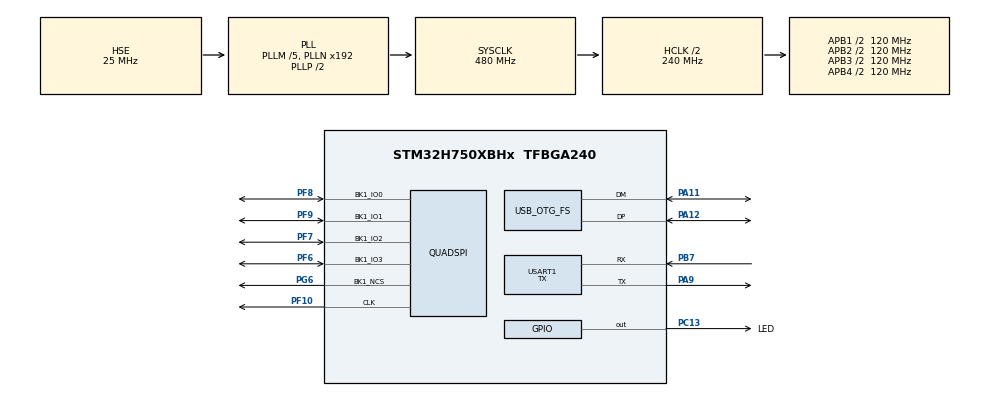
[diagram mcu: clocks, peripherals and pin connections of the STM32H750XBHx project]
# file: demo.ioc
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CORTEX_M7.default_mode_Activation=1
Mcu.Family=STM32H7
Mcu.Name=STM32H750XBHx
Mcu.Package=TFBGA240
NVIC.OTG_FS_IRQn=true\:0\:0\:false\:false\:true\:true\:true\:true
NVIC.PriorityGroup=NVIC_PRIORITYGROUP_4
PA11.Mode=Device_Only
PA11.Signal=USB_OTG_FS_DM
PA12.Mode=Device_Only
PA12.Signal=USB_OTG_FS_DP
PA13\ (JTMS/SWDIO).Mode=Serial_Wire
PA13\ (JTMS/SWDIO).Signal=DEBUG_JTMS-SWDIO
PA14\ (JTCK/SWCLK).Mode=Serial_Wire
PA14\ (JTCK/SWCLK).Signal=DEBUG_JTCK-SWCLK
PA9.Mode=Asynchronous
PA9.Signal=USART1_TX
PB7.Mode=Asynchronous
PB7.Signal=USART1_RX
PC13.GPIO_Label=LED
PC13.Signal=GPIO_Output
PF10.GPIO_Speed=GPIO_SPEED_FREQ_VERY_HIGH
PF10.Mode=Single Bank 1
PF10.Signal=QUADSPI_CLK
PF6.GPIO_Speed=GPIO_SPEED_FREQ_VERY_HIGH
PF6.Mode=Single Bank 1
PF6.Signal=QUADSPI_BK1_IO3
PF7.GPIO_Speed=GPIO_SPEED_FREQ_VERY_HIGH
PF7.Mode=Single Bank 1
PF7.Signal=QUADSPI_BK1_IO2
PF8.GPIO_Speed=GPIO_SPEED_FREQ_VERY_HIGH
PF8.Mode=Single Bank 1
PF8.Signal=QUADSPI_BK1_IO0
PF9.GPIO_Speed=GPIO_SPEED_FREQ_VERY_HIGH
PF9.Mode=Single Bank 1
PF9.Signal=QUADSPI_BK1_IO1
PG6.GPIO_Speed=GPIO_SPEED_FREQ_VERY_HIGH
PG6.Mode=Single Bank 1
PG6.Signal=QUADSPI_BK1_NCS
PH0-OSC_IN\ (PH0).Mode=HSE-External-Oscillator
PH0-OSC_IN\ (PH0).Signal=RCC_OSC_IN
PH1-OSC_OUT\ (PH1).Mode=HSE-External-Oscillator
PH1-OSC_OUT\ (PH1).Signal=RCC_OSC_OUT
ProjectManager.HeapSize=0x200
ProjectManager.StackSize=0x400
ProjectManager.TargetToolchain=MDK-ARM V5.32
QUADSPI.ChipSelectHighTime=QSPI_CS_HIGH_TIME_4_CYCLE
QUADSPI.ClockPrescaler=1
QUADSPI.FifoThreshold=4
QUADSPI.FlashSize=22
QUADSPI.SampleShifting=QSPI_SAMPLE_SHIFTING_HALFCYCLE
RCC.ADCFreq_Value=50390625
RCC.APB1Freq_Value=120000000
RCC.APB2Freq_Value=120000000
RCC.APB3Freq_Value=120000000
RCC.APB4Freq_Value=120000000
RCC.CortexFreq_Value=480000000
RCC.D1PPRE=RCC_APB3_DIV2
RCC.D2PPRE1=RCC_APB1_DIV2
RCC.D2PPRE2=RCC_APB2_DIV2
RCC.D3PPRE=RCC_APB4_DIV2
RCC.DIVM1=5
RCC.DIVM3=2
RCC.DIVN1=192
RCC.DIVN3=12
RCC.DIVQ1=4
RCC.DIVQ3=3
RCC.HCLKFreq_Value=240000000
RCC.HPRE=RCC_HCLK_DIV2
RCC.PLL2FRACN=0
RCC.PLL3FRACN=0
RCC.PLLFRACN=0
RCC.PLLSourceVirtual=RCC_PLLSOURCE_HSE
RCC.SYSCLKFreq_VALUE=480000000
RCC.SYSCLKSource=RCC_SYSCLKSOURCE_PLLCLK
RCC.USBCLockSelection=RCC_USBCLKSOURCE_HSI48
RCC.USBFreq_Value=48000000
USART1.Mode=MODE_TX
USART1.VirtualMode-Asynchronous=VM_ASYNC
USB_OTG_FS.VirtualMode=Device_Only
board=custom

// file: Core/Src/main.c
/* USER CODE BEGIN Header */
/**
 ******************************************************************************
 * @file           : main.c
 * @brief          : Main program body
 ******************************************************************************
 * @attention
 *
 * Copyright (c) 2025 STMicroelectronics.
 * All rights reserved.
 *
 * This software is licensed under terms that can be found in the LICENSE file
 * in the root directory of this software component.
 * If no LICENSE file comes with this software, it is provided AS-IS.
 *
 ******************************************************************************
 */
/* USER CODE END Header */
#include "main.h"

/* USER CODE BEGIN Includes */
#include "sfud.h"
#include <stdio.h>
/* USER CODE END Includes */

/* USER CODE BEGIN PD */
#define SFUD_DEMO_TEST_BUFFER_SIZE 1024
/* USER CODE END PD */

QSPI_HandleTypeDef hqspi;

UART_HandleTypeDef huart1;

PCD_HandleTypeDef hpcd_USB_OTG_FS;

/* USER CODE BEGIN PV */
static uint8_t sfud_demo_test_buf[SFUD_DEMO_TEST_BUFFER_SIZE];
/* USER CODE END PV */

void        SystemClock_Config(void);
static void MPU_Config(void);
static void MX_GPIO_Init(void);
static void MX_USB_OTG_FS_PCD_Init(void);
static void MX_USART1_UART_Init(void);
static void MX_QUADSPI_Init(void);
/* USER CODE BEGIN PFP */

extern void sfud_demo(uint32_t addr, size_t size, uint8_t* data);

void usb_dc_low_level_init(void)
{
    MX_USB_OTG_FS_PCD_Init();
}

void usb_dc_low_level_deinit(void)
{}

/* USER CODE END PFP */

int main(void)
{

    /* MPU Configuration--------------------------------------------------------*/
    MPU_Config();

    /* MCU Configuration--------------------------------------------------------*/

    /* Reset of all peripherals, Initializes the Flash interface and the Systick. */
    HAL_Init();

    /* Configure the system clock */
    SystemClock_Config();

    /* Initialize all configured peripherals */
    MX_GPIO_Init();
    MX_USART1_UART_Init();
    MX_QUADSPI_Init();
    /* USER CODE BEGIN 2 */

    if (sfud_init() == SFUD_SUCCESS)
    {
        /* enable qspi fast read mode, set four data lines width */
        sfud_qspi_fast_read_enable(sfud_get_device(SFUD_W25Q64_DEVICE_INDEX), 4);
        // sfud_demo(0, sizeof(sfud_demo_test_buf), sfud_demo_test_buf);

        msc_init(0, USB_OTG_FS_PERIPH_BASE);
    }

    /* USER CODE END 2 */

    /* Infinite loop */
    while (1)
    {

    }
}

void SystemClock_Config(void)
{
    RCC_OscInitTypeDef RCC_OscInitStruct = {0};
    RCC_ClkInitTypeDef RCC_ClkInitStruct = {0};

    /** Supply configuration update enable
     */
    HAL_PWREx_ConfigSupply(PWR_LDO_SUPPLY);

    /** Configure the main internal regulator output voltage
     */
    __HAL_PWR_VOLTAGESCALING_CONFIG(PWR_REGULATOR_VOLTAGE_SCALE1);

    while (!__HAL_PWR_GET_FLAG(PWR_FLAG_VOSRDY)) {}

    __HAL_RCC_SYSCFG_CLK_ENABLE();
    __HAL_PWR_VOLTAGESCALING_CONFIG(PWR_REGULATOR_VOLTAGE_SCALE0);

    while (!__HAL_PWR_GET_FLAG(PWR_FLAG_VOSRDY)) {}

    /** Initializes the RCC Oscillators according to the specified parameters
     * in the RCC_OscInitTypeDef structure.
     */
    RCC_OscInitStruct.OscillatorType = RCC_OSCILLATORTYPE_HSI48 | RCC_OSCILLATORTYPE_HSE;
    RCC_OscInitStruct.HSEState       = RCC_HSE_ON;
    RCC_OscInitStruct.HSI48State     = RCC_HSI48_ON;
    RCC_OscInitStruct.PLL.PLLState   = RCC_PLL_ON;
    RCC_OscInitStruct.PLL.PLLSource  = RCC_PLLSOURCE_HSE;
    RCC_OscInitStruct.PLL.PLLM       = 5;
    RCC_OscInitStruct.PLL.PLLN       = 192;
    RCC_OscInitStruct.PLL.PLLP       = 2;
    RCC_OscInitStruct.PLL.PLLQ       = 4;
    RCC_OscInitStruct.PLL.PLLR       = 2;
    RCC_OscInitStruct.PLL.PLLRGE     = RCC_PLL1VCIRANGE_2;
    RCC_OscInitStruct.PLL.PLLVCOSEL  = RCC_PLL1VCOWIDE;
    RCC_OscInitStruct.PLL.PLLFRACN   = 0;
    if (HAL_RCC_OscConfig(&RCC_OscInitStruct) != HAL_OK)
    {
        Error_Handler();
    }

    /** Initializes the CPU, AHB and APB buses clocks
     */
    RCC_ClkInitStruct.ClockType      = RCC_CLOCKTYPE_HCLK | RCC_CLOCKTYPE_SYSCLK | RCC_CLOCKTYPE_PCLK1 | RCC_CLOCKTYPE_PCLK2 | RCC_CLOCKTYPE_D3PCLK1 | RCC_CLOCKTYPE_D1PCLK1;
    RCC_ClkInitStruct.SYSCLKSource   = RCC_SYSCLKSOURCE_PLLCLK;
    RCC_ClkInitStruct.SYSCLKDivider  = RCC_SYSCLK_DIV1;
    RCC_ClkInitStruct.AHBCLKDivider  = RCC_HCLK_DIV2;
    RCC_ClkInitStruct.APB3CLKDivider = RCC_APB3_DIV2;
    RCC_ClkInitStruct.APB1CLKDivider = RCC_APB1_DIV2;
    RCC_ClkInitStruct.APB2CLKDivider = RCC_APB2_DIV2;
    RCC_ClkInitStruct.APB4CLKDivider = RCC_APB4_DIV2;

    if (HAL_RCC_ClockConfig(&RCC_ClkInitStruct, FLASH_LATENCY_4) != HAL_OK)
    {
        Error_Handler();
    }
}

static void MX_QUADSPI_Init(void)
{

    /* QUADSPI parameter configuration*/
    hqspi.Instance                = QUADSPI;
    hqspi.Init.ClockPrescaler     = 1;
    hqspi.Init.FifoThreshold      = 4;
    hqspi.Init.SampleShifting     = QSPI_SAMPLE_SHIFTING_HALFCYCLE;
    hqspi.Init.FlashSize          = 22;
    hqspi.Init.ChipSelectHighTime = QSPI_CS_HIGH_TIME_4_CYCLE;
    hqspi.Init.ClockMode          = QSPI_CLOCK_MODE_0;
    hqspi.Init.FlashID            = QSPI_FLASH_ID_1;
    hqspi.Init.DualFlash          = QSPI_DUALFLASH_DISABLE;
    if (HAL_QSPI_Init(&hqspi) != HAL_OK)
    {
        Error_Handler();
    }
}

static void MX_USART1_UART_Init(void)
{

    huart1.Instance                    = USART1;
    huart1.Init.BaudRate               = 115200;
    huart1.Init.WordLength             = UART_WORDLENGTH_8B;
    huart1.Init.StopBits               = UART_STOPBITS_1;
    huart1.Init.Parity                 = UART_PARITY_NONE;
    huart1.Init.Mode                   = UART_MODE_TX;
    huart1.Init.HwFlowCtl              = UART_HWCONTROL_NONE;
    huart1.Init.OverSampling           = UART_OVERSAMPLING_16;
    huart1.Init.OneBitSampling         = UART_ONE_BIT_SAMPLE_DISABLE;
    huart1.Init.ClockPrescaler         = UART_PRESCALER_DIV1;
    huart1.AdvancedInit.AdvFeatureInit = UART_ADVFEATURE_NO_INIT;
    if (HAL_UART_Init(&huart1) != HAL_OK)
    {
        Error_Handler();
    }
    if (HAL_UARTEx_SetTxFifoThreshold(&huart1, UART_TXFIFO_THRESHOLD_1_8) != HAL_OK)
    {
        Error_Handler();
    }
    if (HAL_UARTEx_SetRxFifoThreshold(&huart1, UART_RXFIFO_THRESHOLD_1_8) != HAL_OK)
    {
        Error_Handler();
    }
    if (HAL_UARTEx_DisableFifoMode(&huart1) != HAL_OK)
    {
        Error_Handler();
    }
}

static void MX_USB_OTG_FS_PCD_Init(void)
{

    hpcd_USB_OTG_FS.Instance                     = USB_OTG_FS;
    hpcd_USB_OTG_FS.Init.dev_endpoints           = 9;
    hpcd_USB_OTG_FS.Init.speed                   = PCD_SPEED_FULL;
    hpcd_USB_OTG_FS.Init.dma_enable              = DISABLE;
    hpcd_USB_OTG_FS.Init.phy_itface              = PCD_PHY_EMBEDDED;
    hpcd_USB_OTG_FS.Init.Sof_enable              = DISABLE;
    hpcd_USB_OTG_FS.Init.low_power_enable        = DISABLE;
    hpcd_USB_OTG_FS.Init.lpm_enable              = DISABLE;
    hpcd_USB_OTG_FS.Init.battery_charging_enable = DISABLE;
    hpcd_USB_OTG_FS.Init.vbus_sensing_enable     = DISABLE;
    hpcd_USB_OTG_FS.Init.use_dedicated_ep1       = DISABLE;
    if (HAL_PCD_Init(&hpcd_USB_OTG_FS) != HAL_OK)
    {
        Error_Handler();
    }
}

static void MX_GPIO_Init(void)
{
    GPIO_InitTypeDef GPIO_InitStruct = {0};

    /* GPIO Ports Clock Enable */
    __HAL_RCC_GPIOA_CLK_ENABLE();
    __HAL_RCC_GPIOB_CLK_ENABLE();
    __HAL_RCC_GPIOC_CLK_ENABLE();
    __HAL_RCC_GPIOG_CLK_ENABLE();
    __HAL_RCC_GPIOH_CLK_ENABLE();
    __HAL_RCC_GPIOF_CLK_ENABLE();

    /*Configure GPIO pin Output Level */
    HAL_GPIO_WritePin(LED_GPIO_Port, LED_Pin, GPIO_PIN_RESET);

    /*Configure GPIO pin : LED_Pin */
    GPIO_InitStruct.Pin   = LED_Pin;
    GPIO_InitStruct.Mode  = GPIO_MODE_OUTPUT_PP;
    GPIO_InitStruct.Pull  = GPIO_NOPULL;
    GPIO_InitStruct.Speed = GPIO_SPEED_FREQ_LOW;
    HAL_GPIO_Init(LED_GPIO_Port, &GPIO_InitStruct);

}

/* USER CODE BEGIN 4 */
int fputc(int ch, FILE* f)
{
    HAL_UART_Transmit(&huart1, (uint8_t*)&ch, 1, 0xFF);
    return ch;
}

/**
 * SFUD demo for the first flash device test.
 *
 * @param addr flash start address
 * @param size test flash size
 * @param size test flash data buffer
 */
void sfud_demo(uint32_t addr, size_t size, uint8_t* data)
{
    sfud_err           result = SFUD_SUCCESS;
    extern sfud_flash* sfud_dev;
    const sfud_flash*  flash = sfud_get_device(SFUD_W25Q64_DEVICE_INDEX);
    size_t             i;
    /* prepare write data */
    for (i = 0; i < size; i++)
    {
        data[i] = i;
    }
    /* erase test */
    result = sfud_erase(flash, addr, size);
    if (result == SFUD_SUCCESS)
    {
        printf("Erase the %s flash data finish. Start from 0x%08X, size is %zu.\r\n", flash->name, addr, size);
    }
    else
    {
        printf("Erase the %s flash data failed.\r\n", flash->name);
        return;
    }
    /* write test */
    result = sfud_write(flash, addr, size, data);
    if (result == SFUD_SUCCESS)
    {
        printf("Write the %s flash data finish. Start from 0x%08X, size is %zu.\r\n", flash->name, addr, size);
    }
    else
    {
        printf("Write the %s flash data failed.\r\n", flash->name);
        return;
    }
    /* read test */
    result = sfud_read(flash, addr, size, data);
    if (result == SFUD_SUCCESS)
    {
        printf("Read the %s flash data success. Start from 0x%08X, size is %zu. The data is:\r\n", flash->name, addr, size);
        printf("Offset (h) 00 01 02 03 04 05 06 07 08 09 0A 0B 0C 0D 0E 0F\r\n");
        for (i = 0; i < size; i++)
        {
            if (i % 16 == 0)
            {
                printf("[%08X] ", addr + i);
            }
            printf("%02X ", data[i]);
            if (((i + 1) % 16 == 0) || i == size - 1)
            {
                printf("\r\n");
            }
        }
        printf("\r\n");
    }
    else
    {
        printf("Read the %s flash data failed.\r\n", flash->name);
    }
    /* data check */
    for (i = 0; i < size; i++)
    {
        if (data[i] != i % 256)
        {
            printf("Read and check write data has an error. Write the %s flash data failed.\r\n", flash->name);
            break;
        }
    }
    if (i == size)
    {
        printf("The %s flash test is success.\r\n", flash->name);
    }
}

/* USER CODE END 4 */

/* MPU Configuration */

void MPU_Config(void)
{
    MPU_Region_InitTypeDef MPU_InitStruct = {0};

    /* Disables the MPU */
    HAL_MPU_Disable();

    /** Initializes and configures the Region and the memory to be protected
     */
    MPU_InitStruct.Enable           = MPU_REGION_ENABLE;
    MPU_InitStruct.Number           = MPU_REGION_NUMBER0;
    MPU_InitStruct.BaseAddress      = 0x0;
    MPU_InitStruct.Size             = MPU_REGION_SIZE_4GB;
    MPU_InitStruct.SubRegionDisable = 0x87;
    MPU_InitStruct.TypeExtField     = MPU_TEX_LEVEL0;
    MPU_InitStruct.AccessPermission = MPU_REGION_NO_ACCESS;
    MPU_InitStruct.DisableExec      = MPU_INSTRUCTION_ACCESS_DISABLE;
    MPU_InitStruct.IsShareable      = MPU_ACCESS_SHAREABLE;
    MPU_InitStruct.IsCacheable      = MPU_ACCESS_NOT_CACHEABLE;
    MPU_InitStruct.IsBufferable     = MPU_ACCESS_NOT_BUFFERABLE;

    HAL_MPU_ConfigRegion(&MPU_InitStruct);
    /* Enables the MPU */
    HAL_MPU_Enable(MPU_PRIVILEGED_DEFAULT);
}

void Error_Handler(void)
{
    __disable_irq();
    while (1)
    {
    }
}
